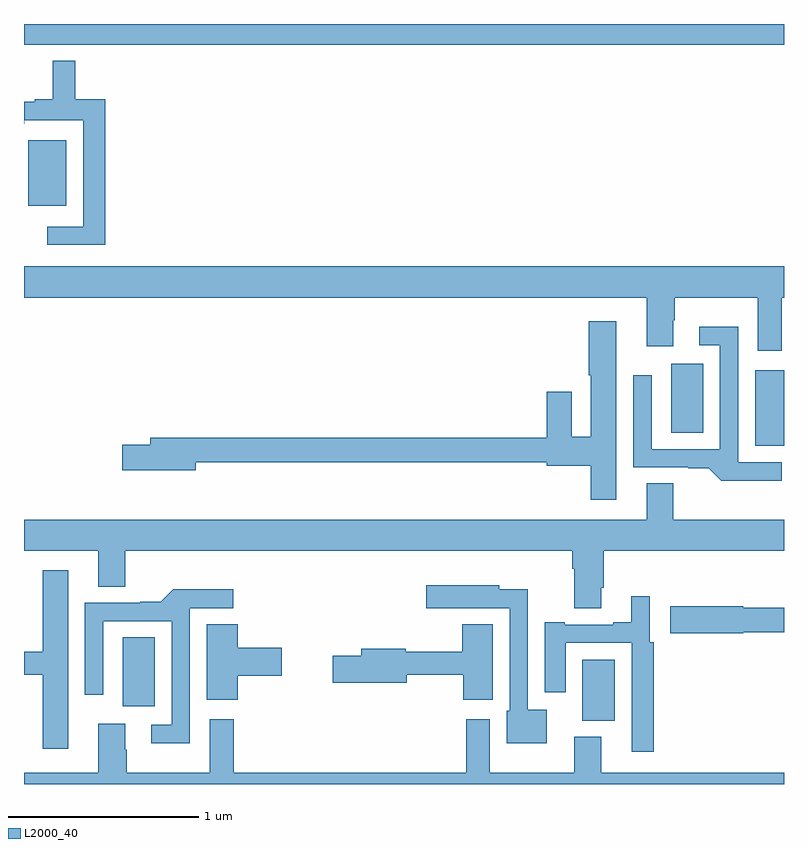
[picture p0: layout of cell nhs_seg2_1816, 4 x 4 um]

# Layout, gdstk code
import gdstk
lib = gdstk.Library(unit=1e-6, precision=1e-09)
def R(c, l, rs):  # rectangles x0, y0, x1, y1
    for r in rs: c.add(gdstk.rectangle(r[:2], r[2:], *l))
def P(c, l, *ps):  # polygons
    for p in ps: c.add(gdstk.Polygon(p, *l))
L2000_40 = (2000, 40)

nhs_seg2_1816 = lib.new_cell('nhs_seg2_1816')
R(nhs_seg2_1816, L2000_40, [(209.939,588.134,210.109,588.454), (207.521,588.21,207.688,588.572), (210.848,589.579,211,589.978), (210.407,589.648,210.574,590.011), (207.023,590.843,207.223,591.187), (207,591.692,211,591.8)])
P(nhs_seg2_1816, L2000_40, [(207.428,591.403),(207.269,591.403),(207.269,591.607),(207.152,591.607),(207.152,591.403),(207.056,591.403),(207.056,591.39),(207,591.39),(207,591.274),(207.001,591.274),(207.001,591.294),(207.312,591.294),(207.312,590.733),(207.123,590.733),(207.123,590.637),(207.428,590.637)],
  [(210.989,590.36),(211,590.36),(211,590.524),(207,590.524),(207,590.36),(210.278,590.36),(210.278,590.103),(210.418,590.103),(210.418,590.24),(210.426,590.24),(210.426,590.36),(210.863,590.36),(210.863,590.079),(210.989,590.079)],
  [(210.118,590.236),(209.972,590.236),(209.972,589.951),(209.984,589.951),(209.984,589.628),(209.884,589.628),(209.884,589.864),(209.75,589.864),(209.75,589.622),(207.665,589.622),(207.665,589.586),(207.516,589.586),(207.516,589.451),(207.904,589.451),(207.904,589.494),(209.75,589.494),(209.75,589.475),(209.984,589.475),(209.984,589.296),(210.118,589.296)],
  [(210.988,589.494),(210.759,589.494),(210.759,590.206),(210.555,590.206),(210.555,590.109),(210.663,590.109),(210.663,589.563),(210.303,589.563),(210.303,589.951),(210.207,589.951),(210.207,589.467),(210.497,589.467),(210.497,589.462),(210.605,589.462),(210.671,589.397),(210.988,589.397)],
  [(210.037,588.832),(210.05,588.832),(210.05,589.028),(211,589.028),(211,589.192),(210.418,589.192),(210.418,589.382),(210.278,589.382),(210.278,589.192),(207,589.192),(207,589.028),(207.392,589.028),(207.392,588.838),(207.532,588.838),(207.532,589.028),(209.885,589.028),(209.885,588.932),(209.897,588.932),(209.897,588.724),(210.037,588.724)],
  [(207.232,588.925),(207.098,588.925),(207.098,588.495),(207,588.495),(207,588.376),(207.098,588.376),(207.098,587.985),(207.232,587.985)],
  [(209.752,588.19),(209.652,588.19),(209.652,588.824),(209.502,588.824),(209.502,588.847),(209.118,588.847),(209.118,588.725),(209.345,588.725),(209.345,588.726),(209.556,588.726),(209.556,588.186),(209.54,588.186),(209.54,588.014),(209.752,588.014)],
  [(207.873,588.726),(208.102,588.726),(208.102,588.824),(207.785,588.824),(207.719,588.758),(207.611,588.758),(207.611,588.753),(207.321,588.753),(207.321,588.27),(207.417,588.27),(207.417,588.657),(207.777,588.657),(207.777,588.111),(207.669,588.111),(207.669,588.014),(207.873,588.014)],
  [(210.314,588.546),(210.294,588.546),(210.294,588.787),(210.197,588.787),(210.197,588.652),(210.101,588.652),(210.101,588.639),(209.845,588.639),(209.845,588.652),(209.741,588.652),(209.741,588.282),(209.851,588.282),(209.851,588.543),(210.198,588.543),(210.198,587.97),(210.314,587.97)],
  [(210.786,588.598),(211,588.598),(211,588.727),(210.786,588.727),(210.786,588.735),(210.402,588.735),(210.402,588.593),(210.786,588.593)],
  [(208.124,588.371),(208.357,588.371),(208.357,588.518),(208.124,588.518),(208.124,588.641),(207.962,588.641),(207.962,588.243),(208.124,588.243)],
  [(209.467,588.64),(209.306,588.64),(209.306,588.495),(209.01,588.495),(209.01,588.512),(208.775,588.512),(208.775,588.476),(208.626,588.476),(208.626,588.334),(209.014,588.334),(209.014,588.376),(209.311,588.376),(209.311,588.243),(209.467,588.243)],
  [(211,587.86),(210.037,587.86),(210.037,588.049),(209.897,588.049),(209.897,587.86),(209.452,587.86),(209.452,588.142),(209.327,588.142),(209.327,587.86),(208.103,587.86),(208.103,588.142),(207.977,588.142),(207.977,587.86),(207.54,587.86),(207.54,587.981),(207.532,587.981),(207.532,588.118),(207.392,588.118),(207.392,587.86),(207,587.86),(207,587.8),(211,587.8)])

lib.write_gds('nhs_seg2_1816.gds')
